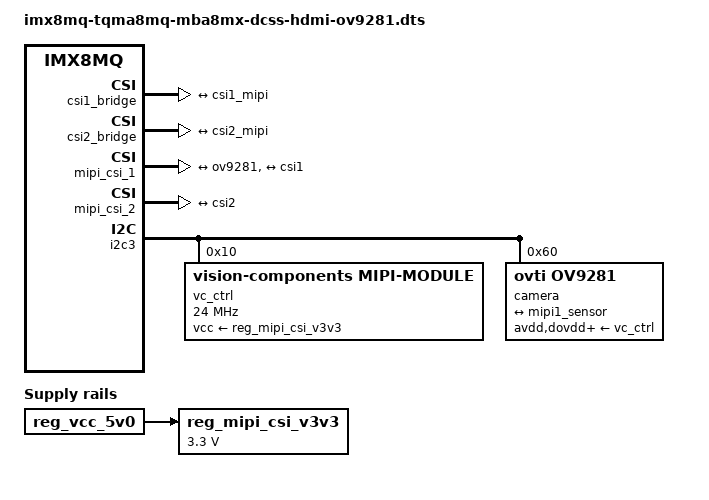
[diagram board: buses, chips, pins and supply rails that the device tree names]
// SPDX-License-Identifier: (GPL-2.0-or-later OR MIT)
/*
 * Copyright (c) 2021-2023 TQ-Systems GmbH <linux@ew.tq-group.com>,
 * D-82229 Seefeld, Germany.
 * Author: Alexander Stein
 */

#include "imx8mq-tqma8mq-mba8mx-dcss-hdmi.dts"

/ {
	/* This voltage converter is located on the adapter board MBaxCA */
	reg_mipi_csi_v3v3: regulator-mipi-csi-v3v3 {
		compatible = "regulator-fixed";
		regulator-name = "MIPI_CSI_V_3V3";
		regulator-min-microvolt = <3300000>;
		regulator-max-microvolt = <3300000>;
		vin-supply = <&reg_vcc_5v0>;
	};
};

&csi1_bridge {
	fsl,mipi-mode;
	status = "okay";

	port {
		csi1: endpoint {
			remote-endpoint = <&csi1_mipi>;
		};
	};
};

&csi2_bridge {
	fsl,mipi-mode;

	port {
		csi2: endpoint {
			remote-endpoint = <&csi2_mipi>;
		};
	};
};

&mipi_csi_1 {
	status = "okay";

	port {
		#address-cells = <1>;
		#size-cells = <0>;

		mipi1_sensor: endpoint@0 {
			reg = <0>;
			remote-endpoint = <&ov9281>;
			data-lanes = <1 2>;
		};

		csi1_mipi: endpoint@1 {
			reg = <1>;
			remote-endpoint = <&csi1>;
		};
	};
};

&mipi_csi_2 {
	port {
		#address-cells = <1>;
		#size-cells = <0>;

		mipi2_sensor: endpoint@0 {
			reg = <0>;
		};

		csi2_mipi: endpoint@1 {
			reg = <1>;
			remote-endpoint = <&csi2>;
		};
	};
};

&i2c3 {
	vc_ctrl: controller@10 {
		compatible = "vision-components,mipi-module";
		reg = <0x10>;
		#clock-cells = <0>;
		vcc-supply = <&reg_mipi_csi_v3v3>;
		clock-frequency = <24000000>;
	};

	camera@60 {
		compatible = "ovti,ov9281";
		reg = <0x60>;
		clocks = <&vc_ctrl>;

		avdd-supply = <&vc_ctrl>;
		dovdd-supply = <&vc_ctrl>;
		dvdd-supply = <&vc_ctrl>;

		port {
			ov9281: endpoint {
				remote-endpoint = <&mipi1_sensor>;
				data-lanes = <1 2>;
				clock-lanes = <0>;
				clock-noncontinuous = <1>;
				link-frequencies = /bits/ 64 <400000000>;
			};
		};
	};
};
